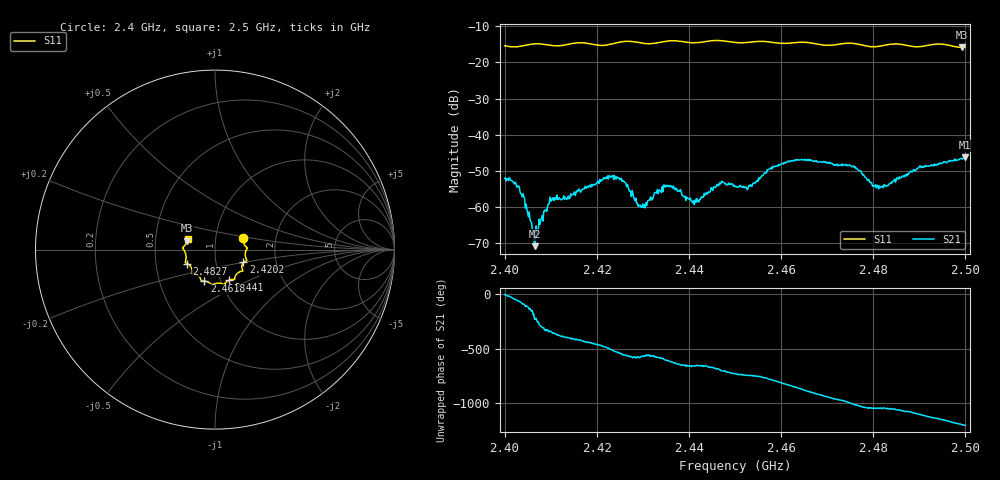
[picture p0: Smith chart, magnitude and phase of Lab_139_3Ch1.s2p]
# Hz S RI R 50
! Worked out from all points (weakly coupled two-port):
!   601 points, 2.4 GHz to 2.5 GHz, reference 50 ohm
!   highest |S21| = -46.27 dB at 2.4998 GHz (marker M1); lowest = -70.9 dB at 2.4065 GHz (marker M2)
!   lowest |S11| = -15.8 dB at 2.4992 GHz (marker M3), VSWR 1.39, Z = 36.5 + j3.66 ohm
!   |S11| at or under -10 dB: start of sweep to end of sweep
!   S12 and S22 are empty: the file has one direction only
!   S11 on the Smith chart (normalised r, x): 2.4 GHz: 1.36, +0.18; 2.4202 GHz: 1.36, -0.20; 2.441 GHz: 1.10, -0.39; 2.4618 GHz: 0.84, -0.30; 2.4827 GHz: 0.72, -0.12; 2.5 GHz: 0.73, +0.09
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2.4e9  0.1582 0.0628  0.00249 -3.14e-05  0 0  0 0
2.403667e9  0.1671 0.022  0.000348 -0.00145  0 0  0 0
2.4065e9  0.1804 0.0102  -0.000184 0.000216  0 0  0 0
2.41e9  0.1723 -0.00621  0.00112 0.000396  0 0  0 0
2.416667e9  0.1772 -0.0606  0.000673 -0.00152  0 0  0 0
2.420167e9  0.1584 -0.0712  -0.000406 -0.00223  0 0  0 0
2.424833e9  0.1538 -0.1127  -0.00252 5.79e-05  0 0  0 0
2.429667e9  0.1395 -0.123  -0.000843 0.000506  0 0  0 0
2.433333e9  0.1114 -0.151  -0.00115 0.000999  0 0  0 0
2.436333e9  0.109 -0.167  -0.000151 0.00192  0 0  0 0
2.441e9  0.0785 -0.1698  0.000602 0.00105  0 0  0 0
2.447167e9  0.047 -0.1942  0.00218 0.00063  0 0  0 0
2.45e9  0.0283 -0.1871  0.00193 -0.000286  0 0  0 0
2.453167e9  -0.00205 -0.191  0.0017 -0.000884  0 0  0 0
2.461833e9  -0.0593 -0.1754  -0.00196 -0.00369  0 0  0 0
2.466667e9  -0.0783 -0.1683  -0.00434 0.00025  0 0  0 0
2.4755e9  -0.1275 -0.1323  0.00108 0.00346  0 0  0 0
2.482667e9  -0.156 -0.0775  0.00165 0.000966  0 0  0 0
2.483333e9  -0.1603 -0.0754  0.0018 0.000937  0 0  0 0
2.499167e9  -0.1545 0.0489  -0.00232 -0.00404  0 0  0 0
2.499833e9  -0.1526 0.0584  -0.00276 -0.004  0 0  0 0
2.5e9  -0.1521 0.0608  -0.00293 -0.00382  0 0  0 0
